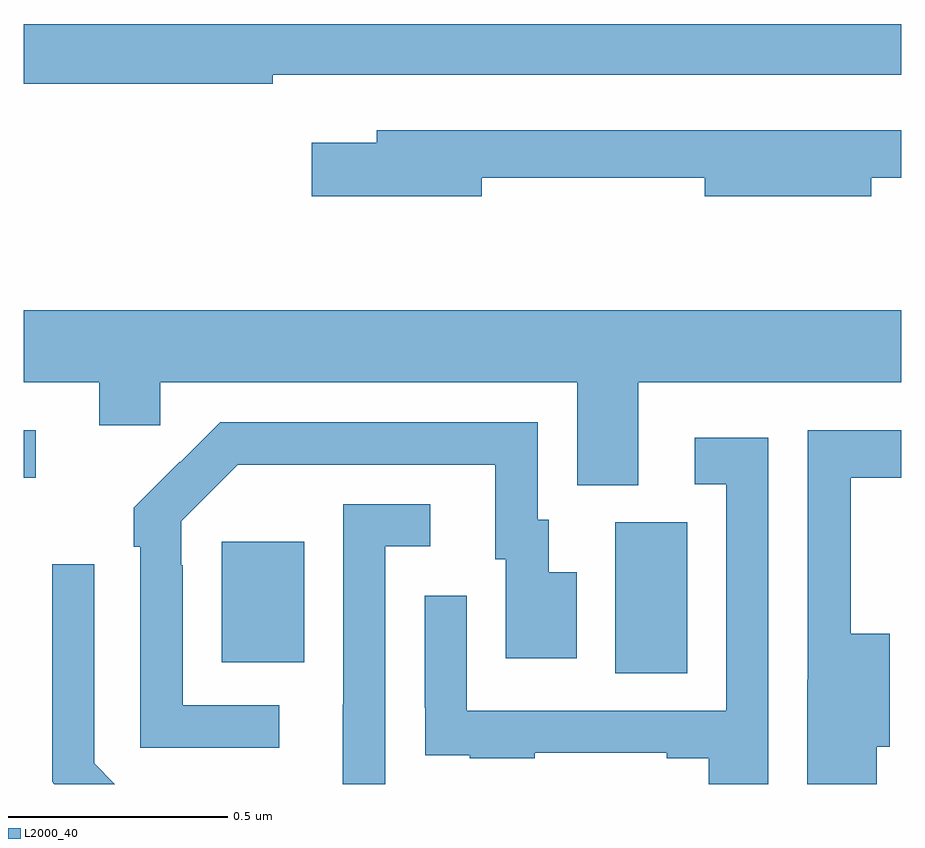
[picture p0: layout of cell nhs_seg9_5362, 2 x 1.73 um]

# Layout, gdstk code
import gdstk
lib = gdstk.Library(unit=1e-6, precision=1e-09)
def R(c, l, rs):  # rectangles x0, y0, x1, y1
    for r in rs: c.add(gdstk.rectangle(r[:2], r[2:], *l))
def P(c, l, *ps):  # polygons
    for p in ps: c.add(gdstk.Polygon(p, *l))
L2000_40 = (2000, 40)

nhs_seg9_5362 = lib.new_cell('nhs_seg9_5362')
R(nhs_seg9_5362, L2000_40, [(179.348,1199.752,179.512,1200.096), (178.451,1199.777,178.639,1200.052), (178,1200.198,178.027,1200.306)])
P(nhs_seg9_5362, L2000_40, [(178.568,1201.116),(180,1201.116),(180,1201.232),(178,1201.232),(178,1201.096),(178.568,1201.096)],
  [(179.044,1200.882),(179.552,1200.882),(179.552,1200.839),(179.932,1200.839),(179.932,1200.882),(180,1200.882),(180,1200.99),(178.805,1200.99),(178.805,1200.961),(178.656,1200.961),(178.656,1200.839),(179.044,1200.839)],
  [(179.401,1200.416),(180,1200.416),(180,1200.58),(178,1200.58),(178,1200.416),(178.172,1200.416),(178.172,1200.318),(178.311,1200.318),(178.311,1200.416),(179.261,1200.416),(179.261,1200.181),(179.401,1200.181)],
  [(178.582,1199.679),(178.362,1199.679),(178.362,1199.999),(178.359,1199.999),(178.359,1200.099),(178.488,1200.228),(179.075,1200.228),(179.075,1200.012),(179.099,1200.012),(179.099,1199.787),(179.26,1199.787),(179.26,1199.983),(179.197,1199.983),(179.197,1200.102),(179.172,1200.102),(179.172,1200.324),(178.448,1200.324),(178.357,1200.233),(178.356,1200.234),(178.251,1200.129),(178.251,1200.041),(178.266,1200.041),(178.266,1199.583),(178.582,1199.583)],
  [(179.944,1199.585),(179.974,1199.585),(179.974,1199.842),(179.885,1199.842),(179.885,1200.198),(180,1200.198),(180,1200.306),(179.787,1200.306),(179.787,1199.738),(179.786,1199.738),(179.786,1199.5),(179.944,1199.5)],
  [(179.697,1200.289),(179.529,1200.289),(179.529,1200.183),(179.601,1200.183),(179.601,1199.667),(179.01,1199.667),(179.01,1199.929),(178.914,1199.929),(178.914,1199.674),(178.915,1199.674),(178.915,1199.565),(179.017,1199.565),(179.017,1199.559),(179.165,1199.559),(179.165,1199.571),(179.465,1199.571),(179.465,1199.559),(179.561,1199.559),(179.561,1199.5),(179.697,1199.5)],
  [(178.824,1200.042),(178.927,1200.042),(178.927,1200.138),(178.728,1200.138),(178.728,1199.681),(178.727,1199.681),(178.727,1199.5),(178.824,1199.5)],
  [(178.161,1199.547),(178.161,1200.001),(178.065,1200.001),(178.065,1199.505),(178.07,1199.5),(178.208,1199.5)])

lib.write_gds('nhs_seg9_5362.gds')
